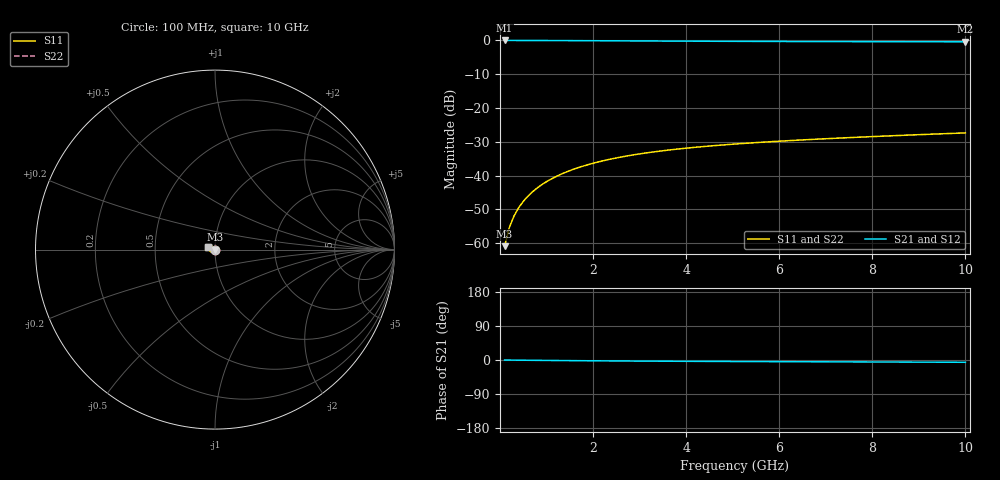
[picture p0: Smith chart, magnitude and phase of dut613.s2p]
! Touchstone file exported from HFSS 2024.1.0
!  File:  C:/UserFiles/LocalFiles/RDL_TSV_Batchsim/temp_TSV1_613_1779788416.aedt
!  Generated:  05:49:07 PM May 26, 2026
!  Design:  TSV1
!  Project:  temp_TSV1_613_1779788416
!  Setup:  Setup1
!  Solution:  Sweep
! Variables:
!  dtsv = 6.44um
!  hbump = 3um
!  htsv = 93.73um
!  lrdl = 252.1521522um
!  p = 40
!  p1 = 45.05um
!  t = 500um
!  trdl = 3um
!  wrdl = 24.89489489um
# GHz S MA R 50.000000
! Terminal data exported
! Port[1] = TSV22_T1
! Port[2] = TSV22_T2
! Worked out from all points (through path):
!   100 points, 100 MHz to 10 GHz, reference 50 ohm
!   highest |S21| = 0.00 dB at 100 MHz (marker M1); lowest = -0.4 dB at 10 GHz (marker M2)
!   lowest |S11| = -60.9 dB at 100 MHz (marker M3), VSWR 1.00, Z = 50 - j0.0832 ohm
!   |S11| at or under -10 dB: start of sweep to end of sweep
!   |S22| runs from -60.9 to -27.4 dB; largest |S21 - S12| = 3.7e-15
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0.1  0.0009039 -66.8  0.9996 -0.1  0.9996 -0.1  0.0009039 -66.8
! Gamma 0 0 0 0
! Port Impedance 50 0 50 0
0.2  0.0017 -80.6  0.9995 -0.2  0.9995 -0.2  0.0017 -80.6
0.3  0.002517 -86.8  0.9993 -0.4  0.9993 -0.4  0.002517 -86.8
0.4  0.003335 -90.8  0.9991 -0.5  0.9991 -0.5  0.003335 -90.8
0.5  0.004152 -94.0  0.9989 -0.6  0.9989 -0.6  0.004152 -94.0
0.6  0.004963 -96.7  0.9986 -0.7  0.9986 -0.7  0.004963 -96.7
0.7  0.005768 -99.2  0.9983 -0.8  0.9983 -0.8  0.005768 -99.2
0.8  0.006565 -101.5  0.9979 -0.9  0.9979 -0.9  0.006565 -101.5
0.9  0.007353 -103.7  0.9974 -1.0  0.9974 -1.0  0.007353 -103.7
1.1  0.008899 -107.8  0.9964 -1.2  0.9964 -1.2  0.008899 -107.8
1.4  0.01113 -113.6  0.9947 -1.6  0.9947 -1.6  0.01113 -113.6
1.6  0.01255 -117.2  0.9934 -1.7  0.9934 -1.7  0.01255 -117.2
1.8  0.01392 -120.7  0.992 -1.9  0.992 -1.9  0.01392 -120.7
2.1  0.01587 -125.8  0.9898 -2.2  0.9898 -2.2  0.01587 -125.8
2.5  0.01826 -132.1  0.9868 -2.5  0.9868 -2.5  0.01826 -132.1
2.9  0.02044 -138.0  0.9838 -2.8  0.9838 -2.8  0.02044 -138.0
3.4  0.02288 -144.8  0.9802 -3.1  0.9802 -3.1  0.02288 -144.8
4.2  0.02626 -154.6  0.9749 -3.5  0.9749 -3.5  0.02626 -154.6
5.1  0.02949 -164.2  0.9699 -4.0  0.9699 -4.0  0.02949 -164.2
6.7  0.03431 -178.4  0.9633 -4.7  0.9633 -4.7  0.03431 -178.4
8.4  0.03882 169.4  0.9584 -5.4  0.9584 -5.4  0.03882 169.4
10  0.04285 160.1  0.9551 -6.0  0.9551 -6.0  0.04285 160.1
